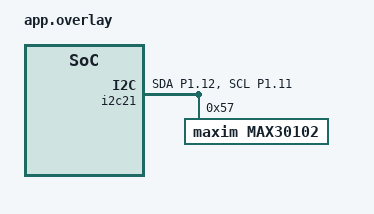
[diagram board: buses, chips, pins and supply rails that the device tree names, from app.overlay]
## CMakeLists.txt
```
cmake_minimum_required(VERSION 3.20.0)
set(DTC_OVERLAY_FILE "${CMAKE_CURRENT_SOURCE_DIR}/app.overlay")
find_package(Zephyr REQUIRED HINTS $ENV{ZEPHYR_BASE})

project(firmware)

target_sources(app PRIVATE src/main.c)
```

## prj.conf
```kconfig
CONFIG_BT=y
CONFIG_BT_PERIPHERAL=y
CONFIG_BT_DEVICE_NAME="HealthTracker"

CONFIG_SENSOR=y
CONFIG_I2C=y

CONFIG_PRINTK=y
```

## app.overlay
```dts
&pinctrl {
    i2c21_default: i2c21_default {
        group1 {
            psels = <NRF_PSEL(TWIM_SDA, 1, 12)>,
                    <NRF_PSEL(TWIM_SCL, 1, 11)>;
        };
    };

    i2c21_sleep: i2c21_sleep {
        group1 {
            psels = <NRF_PSEL(TWIM_SDA, 1, 12)>,
                    <NRF_PSEL(TWIM_SCL, 1, 11)>;
            low-power-enable;
        };
    };
};

&i2c21 {
    status = "okay";
    pinctrl-0 = <&i2c21_default>;
    pinctrl-1 = <&i2c21_sleep>;
    pinctrl-names = "default", "sleep";

    max30102: max30102@57 {
        compatible = "maxim,max30102", "maxim,max30101";
        reg = <0x57>;

        acq-mode = "spo2";

        led-pa = [ 24 24 00 ];

        smp-ave = <4>;
        smp-sr = <100>;
        adc-rge = <16384>;
        led-pw = <411>;
    };
};
```

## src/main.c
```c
#include <zephyr/kernel.h>
#include <zephyr/device.h>
#include <zephyr/drivers/sensor.h>

#include <zephyr/bluetooth/bluetooth.h>
#include <zephyr/bluetooth/gatt.h>

#include <zephyr/sys/printk.h>
#include <string.h>

#define DEVICE_NAME CONFIG_BT_DEVICE_NAME

#define BT_UUID_HEALTHTRACKER_SERVICE_VAL \
    BT_UUID_128_ENCODE(0x7b5e0001, 0x9b2a, 0x4c7a, 0x8f5e, 0x4d2c6a110001)

#define BT_UUID_HEALTHTRACKER_STATUS_VAL \
    BT_UUID_128_ENCODE(0x7b5e0002, 0x9b2a, 0x4c7a, 0x8f5e, 0x4d2c6a110001)

static struct bt_uuid_128 healthtracker_service_uuid =
    BT_UUID_INIT_128(BT_UUID_HEALTHTRACKER_SERVICE_VAL);

static struct bt_uuid_128 healthtracker_status_uuid =
    BT_UUID_INIT_128(BT_UUID_HEALTHTRACKER_STATUS_VAL);


/* -------------------------------------------------------
 * MAX30102
 * ------------------------------------------------------- */

#define MAX30102_NODE DT_NODELABEL(max30102)

#if !DT_NODE_EXISTS(MAX30102_NODE)
#error "MAX30102 devicetree node not found"
#endif

static const struct device *max30102 =
    DEVICE_DT_GET(MAX30102_NODE);


/* -------------------------------------------------------
 * BLE state
 * ------------------------------------------------------- */

static bool connected;
static bool notifications_enabled;

static char status_message[128] = "HealthTracker ready";


static ssize_t read_status(struct bt_conn *conn,
                           const struct bt_gatt_attr *attr,
                           void *buf,
                           uint16_t len,
                           uint16_t offset)
{
    const char *value = attr->user_data;

    return bt_gatt_attr_read(conn,
                             attr,
                             buf,
                             len,
                             offset,
                             value,
                             strlen(value));
}


static void status_ccc_changed(const struct bt_gatt_attr *attr,
                               uint16_t value)
{
    ARG_UNUSED(attr);

    notifications_enabled =
        (value == BT_GATT_CCC_NOTIFY);

    printk("Status notifications %s\n",
           notifications_enabled ? "enabled" : "disabled");
}


/* -------------------------------------------------------
 * BLE GATT service
 * ------------------------------------------------------- */

BT_GATT_SERVICE_DEFINE(healthtracker_service,

    BT_GATT_PRIMARY_SERVICE(&healthtracker_service_uuid),

    BT_GATT_CHARACTERISTIC(
        &healthtracker_status_uuid.uuid,

        BT_GATT_CHRC_READ |
        BT_GATT_CHRC_NOTIFY,

        BT_GATT_PERM_READ,

        read_status,
        NULL,
        status_message
    ),

    BT_GATT_CCC(
        status_ccc_changed,
        BT_GATT_PERM_READ |
        BT_GATT_PERM_WRITE
    )
);


/* -------------------------------------------------------
 * BLE connection callbacks
 * ------------------------------------------------------- */

static void on_connected(struct bt_conn *conn,
                         uint8_t err)
{
    ARG_UNUSED(conn);

    if (err != 0) {
        printk("Connection failed (err %u)\n", err);
        return;
    }

    connected = true;

    printk("PC connected\n");
}


static void on_disconnected(struct bt_conn *conn,
                            uint8_t reason)
{
    ARG_UNUSED(conn);

    connected = false;
    notifications_enabled = false;

    printk("PC disconnected (reason %u); advertising again\n",
           reason);
}


BT_CONN_CB_DEFINE(connection_callbacks) = {
    .connected = on_connected,
    .disconnected = on_disconnected,
};


/* -------------------------------------------------------
 * Sensor + BLE worker
 * ------------------------------------------------------- */

static void status_work_handler(struct k_work *work);

K_WORK_DELAYABLE_DEFINE(status_work,
                         status_work_handler);


static void status_work_handler(struct k_work *work)
{
    ARG_UNUSED(work);

    struct sensor_value red;
    struct sensor_value ir;

    int err;

    /*
     * Read a fresh sample from MAX30102.
     */
    err = sensor_sample_fetch(max30102);

    if (err != 0) {
        printk("MAX30102 sample fetch failed: %d\n", err);
        goto schedule_next;
    }

    /*
     * Get RED LED channel.
     */
    err = sensor_channel_get(max30102,
                             SENSOR_CHAN_RED,
                             &red);

    if (err != 0) {
        printk("Failed to read RED: %d\n", err);
        goto schedule_next;
    }

    /*
     * Get IR LED channel.
     */
    err = sensor_channel_get(max30102,
                             SENSOR_CHAN_IR,
                             &ir);

    if (err != 0) {
        printk("Failed to read IR: %d\n", err);
        goto schedule_next;
    }

    /*
     * Print locally too, which makes debugging
     * considerably less painful.
     */
    printk("MAX30102: RED=%d.%06d IR=%d.%06d\n",
           red.val1,
           red.val2,
           ir.val1,
           ir.val2);


    /*
     * Send over BLE if the phone/PC subscribed.
     */
    if (connected && notifications_enabled) {

        int len = snprintk(
            status_message,
            sizeof(status_message),

            "red=%d.%06d,ir=%d.%06d",

            red.val1,
            red.val2,

            ir.val1,
            ir.val2
        );

        err = bt_gatt_notify(
            NULL,
            &healthtracker_service.attrs[2],
            status_message,
            len
        );

        if (err != 0) {
            printk("BLE notification failed: %d\n", err);
        }
    }


schedule_next:

    /*
     * 10 Hz update rate.
     *
     * 100 ms = 10 readings/sec
     */
    k_work_schedule(&status_work,
                    K_MSEC(100));
}


/* -------------------------------------------------------
 * BLE advertising
 * ------------------------------------------------------- */

static const struct bt_data advertising_data[] = {
    BT_DATA_BYTES(
        BT_DATA_FLAGS,
        BT_LE_AD_GENERAL |
        BT_LE_AD_NO_BREDR
    ),

    BT_DATA_BYTES(
        BT_DATA_UUID128_ALL,
        BT_UUID_HEALTHTRACKER_SERVICE_VAL
    ),
};


static const struct bt_data scan_response_data[] = {
    BT_DATA(
        BT_DATA_NAME_COMPLETE,
        DEVICE_NAME,
        sizeof(DEVICE_NAME) - 1
    ),
};


/* -------------------------------------------------------
 * Main
 * ------------------------------------------------------- */

int main(void)
{
    int err;

    printk("\n");
    printk("=================================\n");
    printk(" HealthTracker\n");
    printk(" nRF54L15 + MAX30102\n");
    printk("=================================\n");


    /* ---------------------------------------------------
     * Check MAX30102
     * --------------------------------------------------- */

    if (!device_is_ready(max30102)) {
        printk("ERROR: MAX30102 is not ready\n");
        printk("Check I2C wiring and devicetree.\n");

        return -ENODEV;
    }

    printk("MAX30102 detected\n");


    /* ---------------------------------------------------
     * Bluetooth
     * --------------------------------------------------- */

    err = bt_enable(NULL);

    if (err) {
        printk("Bluetooth init failed (err %d)\n",
               err);

        return err;
    }

    printk("Bluetooth initialized\n");


    /* ---------------------------------------------------
     * Start advertising
     * --------------------------------------------------- */

    err = bt_le_adv_start(
        BT_LE_ADV_CONN_FAST_1,

        advertising_data,
        ARRAY_SIZE(advertising_data),

        scan_response_data,
        ARRAY_SIZE(scan_response_data)
    );

    if (err) {
        printk("Advertising failed (err %d)\n",
               err);

        return err;
    }

    printk("Advertising as %s\n",
           DEVICE_NAME);

    printk("Waiting for BLE connection...\n");


    /* ---------------------------------------------------
     * Start sensor worker
     * --------------------------------------------------- */

    k_work_schedule(
        &status_work,
        K_MSEC(100)
    );


    while (1) {
        k_sleep(K_SECONDS(1));
    }

    return 0;
}
```
